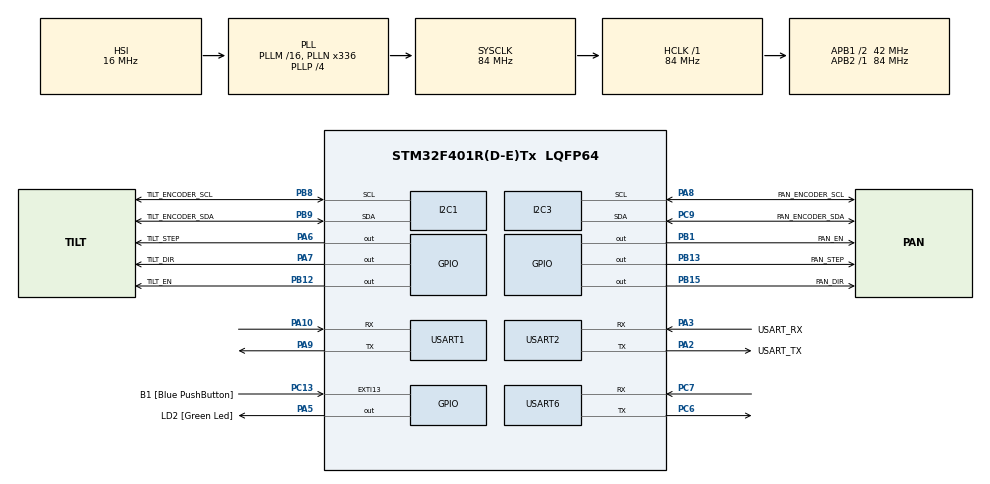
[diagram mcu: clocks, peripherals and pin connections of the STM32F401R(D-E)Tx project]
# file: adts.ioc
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IWDG.Prescaler=IWDG_PRESCALER_32
IWDG.Reload=1250
Mcu.Family=STM32F4
Mcu.Name=STM32F401R(D-E)Tx
Mcu.Package=LQFP64
NVIC.PriorityGroup=NVIC_PRIORITYGROUP_4
NVIC.TIM1_UP_TIM10_IRQn=true\:0\:0\:false\:false\:true\:true\:true\:true
NVIC.TIM2_IRQn=true\:0\:0\:false\:false\:true\:true\:true\:true
NVIC.USART1_IRQn=true\:0\:0\:false\:false\:true\:true\:true\:true
NVIC.USART2_IRQn=true\:0\:0\:false\:false\:true\:true\:true\:true
NVIC.USART6_IRQn=true\:0\:0\:false\:false\:true\:true\:true\:true
PA10.Mode=Asynchronous
PA10.Signal=USART1_RX
PA13.GPIO_Label=TMS
PA13.Signal=SYS_JTMS-SWDIO
PA14.GPIO_Label=TCK
PA14.Signal=SYS_JTCK-SWCLK
PA2.GPIO_Label=USART_TX
PA2.GPIO_Mode=GPIO_MODE_AF_PP
PA2.GPIO_PuPd=GPIO_NOPULL
PA2.GPIO_Speed=GPIO_SPEED_FREQ_LOW
PA2.Mode=Asynchronous
PA2.Signal=USART2_TX
PA3.GPIO_Label=USART_RX
PA3.GPIO_Mode=GPIO_MODE_AF_PP
PA3.GPIO_PuPd=GPIO_NOPULL
PA3.GPIO_Speed=GPIO_SPEED_FREQ_LOW
PA3.Mode=Asynchronous
PA3.Signal=USART2_RX
PA5.GPIO_Label=LD2 [Green Led]
PA5.GPIO_PuPd=GPIO_NOPULL
PA5.GPIO_Speed=GPIO_SPEED_FREQ_LOW
PA5.Signal=GPIO_Output
PA6.GPIO_Label=TILT_STEP
PA6.Signal=GPIO_Output
PA7.GPIO_Label=TILT_DIR
PA7.Signal=GPIO_Output
PA8.GPIO_Label=PAN_ENCODER_SCL
PA8.Mode=I2C
PA8.Signal=I2C3_SCL
PA9.Mode=Asynchronous
PA9.Signal=USART1_TX
PB1.GPIO_Label=PAN_EN
PB1.Signal=GPIO_Output
PB12.GPIO_Label=TILT_EN
PB12.Signal=GPIO_Output
PB13.GPIO_Label=PAN_STEP
PB13.Signal=GPIO_Output
PB15.GPIO_Label=PAN_DIR
PB15.Signal=GPIO_Output
PB8.GPIO_Label=TILT_ENCODER_SCL
PB8.Mode=I2C
PB8.Signal=I2C1_SCL
PB9.GPIO_Label=TILT_ENCODER_SDA
PB9.Mode=I2C
PB9.Signal=I2C1_SDA
PC13-ANTI_TAMP.GPIO_Label=B1 [Blue PushButton]
PC13-ANTI_TAMP.GPIO_ModeDefaultEXTI=GPIO_MODE_IT_FALLING
PC13-ANTI_TAMP.GPIO_PuPd=GPIO_NOPULL
PC13-ANTI_TAMP.Signal=GPXTI13
PC14-OSC32_IN.Mode=LSE-External-Oscillator
PC14-OSC32_IN.Signal=RCC_OSC32_IN
PC15-OSC32_OUT.Mode=LSE-External-Oscillator
PC15-OSC32_OUT.Signal=RCC_OSC32_OUT
PC6.Mode=Asynchronous
PC6.Signal=USART6_TX
PC7.Mode=Asynchronous
PC7.Signal=USART6_RX
PC9.GPIO_Label=PAN_ENCODER_SDA
PC9.Mode=I2C
PC9.Signal=I2C3_SDA
PH0\ -\ OSC_IN.Mode=HSE-External-Clock-Source
PH0\ -\ OSC_IN.Signal=RCC_OSC_IN
PH1\ -\ OSC_OUT.Mode=HSE-External-Clock-Source
PH1\ -\ OSC_OUT.Signal=RCC_OSC_OUT
ProjectManager.HeapSize=0x200
ProjectManager.StackSize=0x400
ProjectManager.TargetToolchain=CMake
RCC.48MHZClocksFreq_Value=48000000
RCC.AHBFreq_Value=84000000
RCC.APB1CLKDivider=RCC_HCLK_DIV2
RCC.APB1Freq_Value=42000000
RCC.APB1TimFreq_Value=84000000
RCC.APB2Freq_Value=84000000
RCC.APB2TimFreq_Value=84000000
RCC.CortexFreq_Value=84000000
RCC.HCLKFreq_Value=84000000
RCC.HSE_VALUE=8000000
RCC.HSI_VALUE=16000000
RCC.PLLN=336
RCC.PLLP=RCC_PLLP_DIV4
RCC.PLLQ=7
RCC.SYSCLKFreq_VALUE=84000000
RCC.SYSCLKSource=RCC_SYSCLKSOURCE_PLLCLK
RCC.VCOOutputFreq_Value=336000000
TIM1.Period=10000-1
TIM1.Prescaler=84-1
TIM2.Period=2500-1
TIM2.Prescaler=84-1
USART1.VirtualMode=VM_ASYNC
USART2.VirtualMode=VM_ASYNC
USART6.VirtualMode=VM_ASYNC
VP_IWDG_VS_IWDG.Mode=IWDG_Activate
VP_TIM1_VS_ClockSourceINT.Mode=Internal
VP_TIM2_VS_ClockSourceINT.Mode=Internal
board=NUCLEO-F401RE

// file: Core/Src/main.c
/* USER CODE BEGIN Header */
/**
  ******************************************************************************
  * @file           : main.c
  * @brief          : Main program body
  ******************************************************************************
  */
/* USER CODE END Header */
#include "main.h"

/* USER CODE BEGIN Includes */
#include <stdio.h>
#include "uart_rpi.h"           /* RPi 링크 UART/프로토콜 디스패처 (이현우) */

#include "hallEffectSensor.h"   /* MT6701 자기 엔코더 (강유근) */
#include "encoder_bench.h"
#include "motor_bench.h"      /* 모터 왕복 테스트 (브링업 전용, 기본 꺼짐) */
#include "lidar_bench.h"      /* 라이다 수신 테스트 (브링업 전용, 기본 꺼짐) */      /* 엔코더 벤치 판독 (브링업 전용, 기본 껼짐) */
#include "motor.h"              /* 2축 축 드라이버 (ISR 은 펄스만)          */
#include "scan.h"               /* 스캔 시퀀서 (메인루프)                   */
#include "lidar.h"              /* TOFSense-F2P 수신 (USART6, 송영빈)       */

/* USER CODE END Includes */

I2C_HandleTypeDef hi2c1;
I2C_HandleTypeDef hi2c3;

IWDG_HandleTypeDef hiwdg;

TIM_HandleTypeDef htim1;
TIM_HandleTypeDef htim2;

UART_HandleTypeDef huart1;
UART_HandleTypeDef huart2;
UART_HandleTypeDef huart6;

void SystemClock_Config(void);
static void MX_GPIO_Init(void);
static void MX_USART1_UART_Init(void);
static void MX_USART2_UART_Init(void);
static void MX_I2C1_Init(void);
static void MX_USART6_UART_Init(void);
static void MX_IWDG_Init(void);
static void MX_I2C3_Init(void);
static void MX_TIM1_Init(void);
static void MX_TIM2_Init(void);

int main(void)
{

  /* MCU Configuration--------------------------------------------------------*/

  /* Reset of all peripherals, Initializes the Flash interface and the Systick. */
  HAL_Init();

  /* Configure the system clock */
  SystemClock_Config();

  /* Initialize all configured peripherals */
  MX_GPIO_Init();
  MX_USART1_UART_Init();
  MX_USART2_UART_Init();
  MX_I2C1_Init();
  MX_USART6_UART_Init();
  MX_IWDG_Init();
  MX_I2C3_Init();
  MX_TIM1_Init();
  MX_TIM2_Init();
  /* USER CODE BEGIN 2 */

  setvbuf(stdout, NULL, _IONBF, 0);
  printf("\r\n=== turret STM32 boot (proto v%u) ===\r\n", PROTO_VERSION);

  uart_rpi_init(&huart1);                  // USART1(RPi 링크) 수신 시작

  motor_init();                            // 축 드라이버 (전류 차단 상태로 시작)
  scan_init();                             // 스캔 시퀀서
  lidar_init(&huart6);                     // USART6(라이다) 수신 시작

  // Pan(TIM1) / Tilt(TIM2) 타이머 인터럽트 시작.
  // 인터럽트 1회당 최대 1펄스이므로 타이머 주파수 = 그 순간의 pps.
  //
  // ★ 주기(ARR)는 고정이 아니다. 가감속 램프 때문에 motor 계층이 펄스마다
  //   다시 쓴다 — 위 MX_TIM*_Init 의 Prescaler/Period 값은 쓰이지 않고
  //   motor_init() 이 1us 틱 + 시작 속도(50pps)로 덮어쓴다(motor.h 참조).
  //   따라서 이 두 줄보다 motor_init() 이 **먼저** 와야 한다.
  //     Pan  : 50pps 출발 -> 100pps 순항 (11.25도/s)
  //     Tilt : 50pps 출발 -> 400pps 순항 (45도/s)
  // 틸트 순항 45도/s + 라이다 100Hz = 0.45도/샘플 = 정확히 4 마이크로스텝.
  // 격자 0.9도(=8 마이크로스텝)에 샘플이 정확히 2개씩 떨어진다.
  // (램프 구간에서는 더 느리므로 샘플이 더 촘촘해질 뿐 성글어지지 않는다)
  HAL_TIM_Base_Start_IT(&htim1);
  HAL_TIM_Base_Start_IT(&htim2);

  // 홈/스캔 시퀀스는 여기서 걸지 않는다. CMD_HOME / CMD_SCAN_START 를 받아
  // App/scan 이 메인루프에서 수행한다.
  /* USER CODE END 2 */

  /* Infinite loop */
  /* USER CODE BEGIN WHILE */
  while (1) {

    uart_rpi_process();                    // 링버퍼 파싱/디스패치 (App/uart_rpi)
    uart_rpi_status_tick();                // CMD_STATUS 1초 주기 상행 (v6)
    lidar_process();                       // 라이다 샘플 큐 → scan 제출
    scan_process();                        // 스캔 시퀀서 (홈/스윕/엔코더 대조)
    //motor_bench_run();                     // 모터 왕복 테스트 (기본 꺼짐)
    //lidar_bench_run();                     // 라이다 수신 테스트 (기본 꺼짐)
    //encoder_bench_run();                   // 엔코더 벤치 판독 (기본 껼짐)
    HAL_IWDG_Refresh(&hiwdg);              // 워치독 먹이기

    /* USER CODE END WHILE */

  }
}

void SystemClock_Config(void)
{
  RCC_OscInitTypeDef RCC_OscInitStruct = {0};
  RCC_ClkInitTypeDef RCC_ClkInitStruct = {0};

  /** Configure the main internal regulator output voltage
  */
  __HAL_RCC_PWR_CLK_ENABLE();
  __HAL_PWR_VOLTAGESCALING_CONFIG(PWR_REGULATOR_VOLTAGE_SCALE2);

  /** Initializes the RCC Oscillators according to the specified parameters
  * in the RCC_OscInitTypeDef structure.
  */
  RCC_OscInitStruct.OscillatorType = RCC_OSCILLATORTYPE_HSI|RCC_OSCILLATORTYPE_LSI;
  RCC_OscInitStruct.HSIState = RCC_HSI_ON;
  RCC_OscInitStruct.HSICalibrationValue = RCC_HSICALIBRATION_DEFAULT;
  RCC_OscInitStruct.LSIState = RCC_LSI_ON;
  RCC_OscInitStruct.PLL.PLLState = RCC_PLL_ON;
  RCC_OscInitStruct.PLL.PLLSource = RCC_PLLSOURCE_HSI;
  RCC_OscInitStruct.PLL.PLLM = 16;
  RCC_OscInitStruct.PLL.PLLN = 336;
  RCC_OscInitStruct.PLL.PLLP = RCC_PLLP_DIV4;
  RCC_OscInitStruct.PLL.PLLQ = 7;
  if (HAL_RCC_OscConfig(&RCC_OscInitStruct) != HAL_OK)
  {
    Error_Handler();
  }

  /** Initializes the CPU, AHB and APB buses clocks
  */
  RCC_ClkInitStruct.ClockType = RCC_CLOCKTYPE_HCLK|RCC_CLOCKTYPE_SYSCLK
                              |RCC_CLOCKTYPE_PCLK1|RCC_CLOCKTYPE_PCLK2;
  RCC_ClkInitStruct.SYSCLKSource = RCC_SYSCLKSOURCE_PLLCLK;
  RCC_ClkInitStruct.AHBCLKDivider = RCC_SYSCLK_DIV1;
  RCC_ClkInitStruct.APB1CLKDivider = RCC_HCLK_DIV2;
  RCC_ClkInitStruct.APB2CLKDivider = RCC_HCLK_DIV1;

  if (HAL_RCC_ClockConfig(&RCC_ClkInitStruct, FLASH_LATENCY_2) != HAL_OK)
  {
    Error_Handler();
  }
}

static void MX_I2C1_Init(void)
{

  hi2c1.Instance = I2C1;
  hi2c1.Init.ClockSpeed = 100000;
  hi2c1.Init.DutyCycle = I2C_DUTYCYCLE_2;
  hi2c1.Init.OwnAddress1 = 0;
  hi2c1.Init.AddressingMode = I2C_ADDRESSINGMODE_7BIT;
  hi2c1.Init.DualAddressMode = I2C_DUALADDRESS_DISABLE;
  hi2c1.Init.OwnAddress2 = 0;
  hi2c1.Init.GeneralCallMode = I2C_GENERALCALL_DISABLE;
  hi2c1.Init.NoStretchMode = I2C_NOSTRETCH_DISABLE;
  if (HAL_I2C_Init(&hi2c1) != HAL_OK)
  {
    Error_Handler();
  }

}

static void MX_I2C3_Init(void)
{

  hi2c3.Instance = I2C3;
  hi2c3.Init.ClockSpeed = 100000;
  hi2c3.Init.DutyCycle = I2C_DUTYCYCLE_2;
  hi2c3.Init.OwnAddress1 = 0;
  hi2c3.Init.AddressingMode = I2C_ADDRESSINGMODE_7BIT;
  hi2c3.Init.DualAddressMode = I2C_DUALADDRESS_DISABLE;
  hi2c3.Init.OwnAddress2 = 0;
  hi2c3.Init.GeneralCallMode = I2C_GENERALCALL_DISABLE;
  hi2c3.Init.NoStretchMode = I2C_NOSTRETCH_DISABLE;
  if (HAL_I2C_Init(&hi2c3) != HAL_OK)
  {
    Error_Handler();
  }

}

static void MX_IWDG_Init(void)
{

  hiwdg.Instance = IWDG;
  hiwdg.Init.Prescaler = IWDG_PRESCALER_32;
  hiwdg.Init.Reload = 1250;
  if (HAL_IWDG_Init(&hiwdg) != HAL_OK)
  {
    Error_Handler();
  }

}

static void MX_TIM1_Init(void)
{

  TIM_ClockConfigTypeDef sClockSourceConfig = {0};
  TIM_MasterConfigTypeDef sMasterConfig = {0};

  htim1.Instance = TIM1;
  htim1.Init.Prescaler = 84-1;
  htim1.Init.CounterMode = TIM_COUNTERMODE_UP;
  htim1.Init.Period = 10000-1;
  htim1.Init.ClockDivision = TIM_CLOCKDIVISION_DIV1;
  htim1.Init.RepetitionCounter = 0;
  htim1.Init.AutoReloadPreload = TIM_AUTORELOAD_PRELOAD_DISABLE;
  if (HAL_TIM_Base_Init(&htim1) != HAL_OK)
  {
    Error_Handler();
  }
  sClockSourceConfig.ClockSource = TIM_CLOCKSOURCE_INTERNAL;
  if (HAL_TIM_ConfigClockSource(&htim1, &sClockSourceConfig) != HAL_OK)
  {
    Error_Handler();
  }
  sMasterConfig.MasterOutputTrigger = TIM_TRGO_RESET;
  sMasterConfig.MasterSlaveMode = TIM_MASTERSLAVEMODE_DISABLE;
  if (HAL_TIMEx_MasterConfigSynchronization(&htim1, &sMasterConfig) != HAL_OK)
  {
    Error_Handler();
  }

}

static void MX_TIM2_Init(void)
{

  TIM_ClockConfigTypeDef sClockSourceConfig = {0};
  TIM_MasterConfigTypeDef sMasterConfig = {0};

  htim2.Instance = TIM2;
  htim2.Init.Prescaler = 84-1;
  htim2.Init.CounterMode = TIM_COUNTERMODE_UP;
  htim2.Init.Period = 2500-1;
  htim2.Init.ClockDivision = TIM_CLOCKDIVISION_DIV1;
  htim2.Init.AutoReloadPreload = TIM_AUTORELOAD_PRELOAD_DISABLE;
  if (HAL_TIM_Base_Init(&htim2) != HAL_OK)
  {
    Error_Handler();
  }
  sClockSourceConfig.ClockSource = TIM_CLOCKSOURCE_INTERNAL;
  if (HAL_TIM_ConfigClockSource(&htim2, &sClockSourceConfig) != HAL_OK)
  {
    Error_Handler();
  }
  sMasterConfig.MasterOutputTrigger = TIM_TRGO_RESET;
  sMasterConfig.MasterSlaveMode = TIM_MASTERSLAVEMODE_DISABLE;
  if (HAL_TIMEx_MasterConfigSynchronization(&htim2, &sMasterConfig) != HAL_OK)
  {
    Error_Handler();
  }

}

static void MX_USART1_UART_Init(void)
{

  huart1.Instance = USART1;
  huart1.Init.BaudRate = 115200;
  huart1.Init.WordLength = UART_WORDLENGTH_8B;
  huart1.Init.StopBits = UART_STOPBITS_1;
  huart1.Init.Parity = UART_PARITY_NONE;
  huart1.Init.Mode = UART_MODE_TX_RX;
  huart1.Init.HwFlowCtl = UART_HWCONTROL_NONE;
  huart1.Init.OverSampling = UART_OVERSAMPLING_16;
  if (HAL_UART_Init(&huart1) != HAL_OK)
  {
    Error_Handler();
  }

}

static void MX_USART2_UART_Init(void)
{

  huart2.Instance = USART2;
  huart2.Init.BaudRate = 115200;
  huart2.Init.WordLength = UART_WORDLENGTH_8B;
  huart2.Init.StopBits = UART_STOPBITS_1;
  huart2.Init.Parity = UART_PARITY_NONE;
  huart2.Init.Mode = UART_MODE_TX_RX;
  huart2.Init.HwFlowCtl = UART_HWCONTROL_NONE;
  huart2.Init.OverSampling = UART_OVERSAMPLING_16;
  if (HAL_UART_Init(&huart2) != HAL_OK)
  {
    Error_Handler();
  }

}

static void MX_USART6_UART_Init(void)
{

  huart6.Instance = USART6;
  huart6.Init.BaudRate = 115200;
  huart6.Init.WordLength = UART_WORDLENGTH_8B;
  huart6.Init.StopBits = UART_STOPBITS_1;
  huart6.Init.Parity = UART_PARITY_NONE;
  huart6.Init.Mode = UART_MODE_TX_RX;
  huart6.Init.HwFlowCtl = UART_HWCONTROL_NONE;
  huart6.Init.OverSampling = UART_OVERSAMPLING_16;
  if (HAL_UART_Init(&huart6) != HAL_OK)
  {
    Error_Handler();
  }

}

static void MX_GPIO_Init(void)
{
  GPIO_InitTypeDef GPIO_InitStruct = {0};

  /* GPIO Ports Clock Enable */
  __HAL_RCC_GPIOC_CLK_ENABLE();
  __HAL_RCC_GPIOH_CLK_ENABLE();
  __HAL_RCC_GPIOA_CLK_ENABLE();
  __HAL_RCC_GPIOB_CLK_ENABLE();

  /*Configure GPIO pin Output Level */
  HAL_GPIO_WritePin(GPIOA, LD2_Pin|TILT_STEP_Pin|TILT_DIR_Pin, GPIO_PIN_RESET);

  /*Configure GPIO pin Output Level */
  HAL_GPIO_WritePin(GPIOB, PAN_EN_Pin|TILT_EN_Pin|PAN_STEP_Pin|PAN_DIR_Pin, GPIO_PIN_RESET);

  /*Configure GPIO pin : B1_Pin */
  GPIO_InitStruct.Pin = B1_Pin;
  GPIO_InitStruct.Mode = GPIO_MODE_IT_FALLING;
  GPIO_InitStruct.Pull = GPIO_NOPULL;
  HAL_GPIO_Init(B1_GPIO_Port, &GPIO_InitStruct);

  /*Configure GPIO pins : LD2_Pin TILT_STEP_Pin TILT_DIR_Pin */
  GPIO_InitStruct.Pin = LD2_Pin|TILT_STEP_Pin|TILT_DIR_Pin;
  GPIO_InitStruct.Mode = GPIO_MODE_OUTPUT_PP;
  GPIO_InitStruct.Pull = GPIO_NOPULL;
  GPIO_InitStruct.Speed = GPIO_SPEED_FREQ_LOW;
  HAL_GPIO_Init(GPIOA, &GPIO_InitStruct);

  /*Configure GPIO pins : PAN_EN_Pin TILT_EN_Pin PAN_STEP_Pin PAN_DIR_Pin */
  GPIO_InitStruct.Pin = PAN_EN_Pin|TILT_EN_Pin|PAN_STEP_Pin|PAN_DIR_Pin;
  GPIO_InitStruct.Mode = GPIO_MODE_OUTPUT_PP;
  GPIO_InitStruct.Pull = GPIO_NOPULL;
  GPIO_InitStruct.Speed = GPIO_SPEED_FREQ_LOW;
  HAL_GPIO_Init(GPIOB, &GPIO_InitStruct);

}

/* USER CODE BEGIN 4 */
/* printf 출력을 VCP(USART2)로 연결 */
int __io_putchar(int ch)
{
  HAL_UART_Transmit(&huart2, (uint8_t *)&ch, 1, HAL_MAX_DELAY);
  return ch;
}

/* HAL UART 콜백 → uart_rpi 모듈로 위임 */
void HAL_UART_RxCpltCallback(UART_HandleTypeDef *huart)
{
  // 각 모듈이 자기 인스턴스인지 확인 후 처리한다 (USART1=RPi, USART6=라이다)
  uart_rpi_on_rx_cplt(huart);
  lidar_on_rx_cplt(huart);
}

void HAL_UART_ErrorCallback(UART_HandleTypeDef *huart)
{
  uart_rpi_on_error(huart);
  lidar_on_error(huart);
}

/**
  * @brief  타이머 인터럽트 콜백 (신규 추가: 모터 스텝 제어용)
  */
void HAL_TIM_PeriodElapsedCallback(TIM_HandleTypeDef *htim)
{
  // TIM1 = Pan / TIM2 = Tilt. 주기는 가감속 램프에 따라 매 펄스 달라진다.
  // 두 핸들러 모두 펄스 1개만 내고 즉시 반환한다 — 분기·printf·I2C·Delay 금지.
  if (htim->Instance == TIM1) {
    motor_pan_isr();
  }
  else if (htim->Instance == TIM2) {
    motor_tilt_isr();
  }
}
/* USER CODE END 4 */

void Error_Handler(void)
{
  /* USER CODE BEGIN Error_Handler_Debug */
  /* User can add his own implementation to report the HAL error return state */
  /* 주의: 여기서 반환하면 안 된다.
   *
   *   while(1) 이 주석 처리된 채로 남아 있었다. 그러면 초기화가 실패해도
   *   인터럽트만 끈 채 실행이 계속되는데, SysTick 이 죽어 HAL_GetTick 이
   *   멈추고 HAL_Delay 는 영영 안 돌아온다. 그런데 IWDG 갱신은 인터럽트가
   *   아니라 메인루프라, 워치독조차 이 상태를 못 잡는다. 즉 반쯤 죽은 채로
   *   RPi 의 PING 에는 답할 수도 있어 링크가 살아있는 것처럼 보인다.
   *
   *   멈춰 서면 IWDG 가 갱신되지 않아 하드웨어가 리셋한다. 조용히 이상하게
   *   도는 것보다 낫다. */
  __disable_irq();
  while (1)
  {
  }
  /* USER CODE END Error_Handler_Debug */
}
